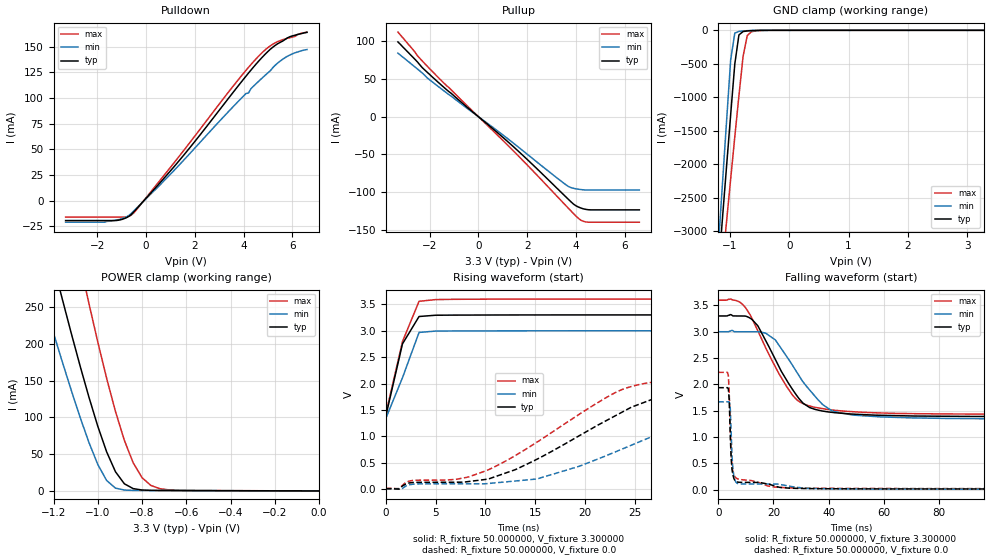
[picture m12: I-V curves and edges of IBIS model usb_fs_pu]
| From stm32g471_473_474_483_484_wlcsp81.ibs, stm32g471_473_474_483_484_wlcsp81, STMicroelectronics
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|   Model usb_fs_pu
[Model]  usb_fs_pu
Model_type I/O
Polarity   Non-Inverting
Enable   Active-Low
Vinl =   0.990000V
Vinh =   2.310000V
Vmeas =  1.650000V
Cref =   30.000000pF
Rref =   100.000000M
Vref =   0.0V
C_comp   6.430500pF   6.217500pF   6.599700pF
[Temperature Range]   25.000000   -40.000000   0.125000k
[Pullup Reference]   3.300000V   3.000000V   3.600000V
[Pulldown Reference]   0.0V   0.0V   0.0V
[POWER Clamp Reference]   3.300000V   3.000000V   3.600000V
[GND Clamp Reference]   0.0V   0.0V   0.0V
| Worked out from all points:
|   slope of the pulldown table from 0 to 0.495 V, typ, clamps not added: 38 ohm
|   slope of the pullup table from 0 to 0.495 V, typ, clamps not added: 37.1 ohm
|   GND clamp passes 1 mA (typ) near -0.52 V on its own axis
|   POWER clamp passes 1 mA (typ) near -0.78 V on its own axis
|   rising waveform, R_fixture 50.000000, V_fixture 3.300000: 20-80 % time 1.74ns typ, 2.03ns min, 1.95ns max; typ from 1.39 V to 3.3 V
|   rising waveform, R_fixture 50.000000, V_fixture 0.0: 20-80 % time 11.4ns typ, 13.5ns min, 11.3ns max; typ from 0.01 V to 1.94 V
|   falling waveform, R_fixture 50.000000, V_fixture 3.300000: 20-80 % time 12.3ns typ, 13.8ns min, 13ns max; typ from 3.3 V to 1.39 V
|   falling waveform, R_fixture 50.000000, V_fixture 0.0: 20-80 % time 900ps typ, 937ps min, 962ps max; typ from 1.94 V to 0.01 V
[Pulldown]
|Voltage   I(typ)   I(min)   I(max)
-3.3V     -19.4mA    -21mA      -16mA
-1.7V     -19.4mA    -21mA      -16mA
-1V       -18.4mA    -17.48mA   -16mA
-600mV    -13.39mA   -12.33mA   -13.87mA
1.5V      42.99mA    38.27mA    47.51mA
3.6V      106.3mA    92.16mA    112.4mA
4.1V      121.3mA    104.3mA    126.9mA
4.2V      124.2mA    104.7mA    129.7mA
4.6V      135.3mA    115.8mA    140.3mA
5.1V      147.5mA    126.6mA    150.8mA
5.7V      156.9mA    139.2mA    157.4mA
6.6V      163.8mA    147.1mA    164.1mA
[Pullup]
|Voltage   I(typ)   I(min)   I(max)
-3.3V     98.9mA     84mA       111.9mA
-2.7V     79.1mA     68.3mA     89.3mA
-2.5V     72.4mA     63.1mA     80.6mA
-2.3V     64.8mA     57.7mA     73.6mA
-1.9V     52.8mA     46.26mA    60.1mA
1.4V      -38.69mA   -34.13mA   -44.11mA
3.6V      -106.5mA   -90.41mA   -118.1mA
3.9V      -115.7mA   -94.78mA   -128.2mA
4.1V      -119.5mA   -96mA      -134.5mA
4.3V      -121.9mA   -96.8mA    -138.4mA
4.5V      -123.1mA   -97mA      -139.6mA
6.6V      -123.3mA   -97mA      -139.6mA
[GND_clamp]
|Voltage   I(typ)   I(min)   I(max)
-3.3V     -10A       -9.932A    -9.409A
-1.2V     -3.625A    -3.264A    -4.165A
-1.13V    -2.833A    -2.317A    -3.515A
-1.06V    -2.046A    -1.375A    -2.868A
-990mV    -1.266A    -445.1mA   -2.226A
-920mV    -503.5mA   -41.44mA   -1.593A
-850mV    -68.23mA   -15.9mA    -976.3mA
-780mV    -18.22mA   -9.77mA    -388mA
-710mV    -9.477mA   -5.248mA   -77.72mA
-640mV    -5.151mA   -2.055mA   -21.58mA
-360mV    -11.68uA   -97.01nA   -423.1uA
3.28V     0A         0A         0A
[POWER_clamp]
|Voltage   I(typ)   I(min)   I(max)
-3.28V    2.966A     2.441A     3.783A
-1.28V    403.2mA    295.1mA    599.7mA
-1.24V    354.9mA    254.5mA    540mA
-1.16V    260.4mA    175.2mA    422.6mA
-1.08V    170mA      100.2mA    309.3mA
-1.04V    127.5mA    65.91mA    254.8mA
-960mV    53.13mA    14.16mA    153.1mA
-920mV    26.04mA    3.794mA    108mA
-840mV    3.136mA    699.7uA    38.18mA
-760mV    764.4uA    550.2uA    7.472mA
-640mV    519.6uA    443.3uA    891.7uA
0V        0A         0A         68.46nA
[Ramp]
| variable   typ   min   max
dV/dt_r  1.15544/11.34617n   0.99590/13.52952n   1.32579/11.33964n
dV/dt_f  1.14720/12.14241n   0.99420/13.73874n   1.30044/12.96129n
R_load = 50.000000
[Rising Waveform]
R_fixture= 50.000000
V_fixture= 3.300000
V_fixture_min= 3.000000
V_fixture_max= 3.600000
|time   V(typ)   V(min)   V(max)
0s        1.388V     1.343V     1.433V
1.668ns   2.751V     2.11V      2.794V
3.337ns   3.27V      2.969V     3.558V
5.005ns   3.294V     2.994V     3.59V
15.02ns   3.299V     2.999V     3.599V
165.2ns   3.3V       3V         3.6V
[Rising Waveform]
R_fixture= 50.000000
V_fixture= 0.0
V_fixture_min= 0.0
V_fixture_max= 0.0
|time   V(typ)   V(min)   V(max)
0s        10.46mV    6.862mV    17.65mV
2.669ns   127.2mV    95.01mV    165.8mV
8.342ns   146.7mV    103mV      235.5mV
15.35ns   583.6mV    204.2mV    911mV
23.69ns   1.454V     756mV      1.884V
26.69ns   1.696V     992.5mV    2.023V
31.03ns   1.813V     1.317V     2.107V
37.04ns   1.874V     1.547V     2.162V
54.39ns   1.929V     1.648V     2.214V
166.2ns   1.936V     1.667V     2.227V
[Falling Waveform]
R_fixture= 50.000000
V_fixture= 3.300000
V_fixture_min= 3.000000
V_fixture_max= 3.600000
|time   V(typ)   V(min)   V(max)
0s        3.3V       3V         3.6V
9.009ns   3.299V     3V         3.511V
14.35ns   3.113V     2.999V     3.017V
17.35ns   2.816V     2.967V     2.678V
20.69ns   2.473V     2.844V     2.332V
27.03ns   1.893V     2.35V      1.786V
34.37ns   1.536V     1.815V     1.57V
41.37ns   1.466V     1.489V     1.511V
48.72ns   1.434V     1.416V     1.479V
166.2ns   1.388V     1.343V     1.433V
[Falling Waveform]
R_fixture= 50.000000
V_fixture= 0.0
V_fixture_min= 0.0
V_fixture_max= 0.0
|time   V(typ)   V(min)   V(max)
0s        1.936V     1.667V     2.227V
3.67ns    1.915V     1.667V     2.173V
4.004ns   1.696V     1.667V     1.831V
4.338ns   1.086V     1.587V     1.214V
4.671ns   608.6mV    1.126V     704.3mV
5.005ns   381mV      635.1mV    448.5mV
5.672ns   210.5mV    258.1mV    279.1mV
7.341ns   139.3mV    110.3mV    197.6mV
28.36ns   21.92mV    42.98mV    29.19mV
166.2ns   10.46mV    6.862mV    17.65mV
